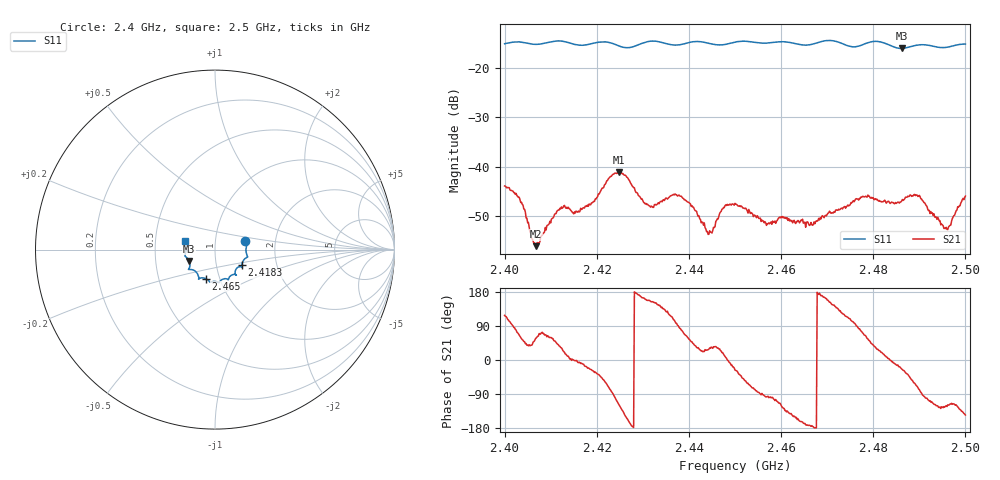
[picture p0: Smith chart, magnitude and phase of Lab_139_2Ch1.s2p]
# Hz S RI R 50
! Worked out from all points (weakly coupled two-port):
!   601 points, 2.4 GHz to 2.5 GHz, reference 50 ohm
!   highest |S21| = -41.14 dB at 2.4248 GHz (marker M1); lowest = -56.0 dB at 2.4068 GHz (marker M2)
!   lowest |S11| = -16.1 dB at 2.4862 GHz (marker M3), VSWR 1.37, Z = 37.2 - j4.8 ohm
!   |S11| at or under -10 dB: start of sweep to end of sweep
!   S12 and S22 are empty: the file has one direction only
!   S11 on the Smith chart (normalised r, x): 2.4 GHz: 1.40, +0.13; 2.4183 GHz: 1.33, -0.24; 2.465 GHz: 0.86, -0.28; 2.5 GHz: 0.71, +0.07
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2.4e9  0.1687 0.0465  -0.00299 0.00566  0 0  0 0
2.4035e9  0.1792 0.0307  0.00223 0.00375  0 0  0 0
2.406833e9  0.1724 -0.00112  0.000839 0.00134  0 0  0 0
2.411833e9  0.182 -0.0409  0.00292 0.00221  0 0  0 0
2.416667e9  0.1545 -0.0678  0.00367 -0.000538  0 0  0 0
2.418333e9  0.1497 -0.0868  0.00391 -0.00159  0 0  0 0
2.424833e9  0.136 -0.0953  -0.00407 -0.00777  0 0  0 0
2.430667e9  0.1155 -0.1406  -0.00401 0.00148  0 0  0 0
2.433333e9  0.1178 -0.1411  -0.00359 0.00244  0 0  0 0
2.438333e9  0.0806 -0.1515  0.000962 0.00496  0 0  0 0
2.4445e9  0.0656 -0.1632  0.00192 0.00119  0 0  0 0
2.4475e9  0.0398 -0.1664  0.00374 0.00104  0 0  0 0
2.45e9  0.0255 -0.18  0.00382 -0.00191  0 0  0 0
2.456833e9  -0.00785 -0.1773  -0.000324 -0.00254  0 0  0 0
2.465e9  -0.0526 -0.1613  -0.00268 -0.000597  0 0  0 0
2.466667e9  -0.0713 -0.1572  -0.00258 -0.000305  0 0  0 0
2.477833e9  -0.1313 -0.1112  0.00171 0.00472  0 0  0 0
2.483333e9  -0.141 -0.0966  0.00448 0.000297  0 0  0 0
2.486167e9  -0.1435 -0.0629  0.00413 -0.00181  0 0  0 0
2.489833e9  -0.1662 -0.0375  0.00119 -0.0049  0 0  0 0
2.495833e9  -0.1602 0.014  -0.00124 -0.00211  0 0  0 0
2.5e9  -0.1672 0.0468  -0.00415 -0.00289  0 0  0 0
